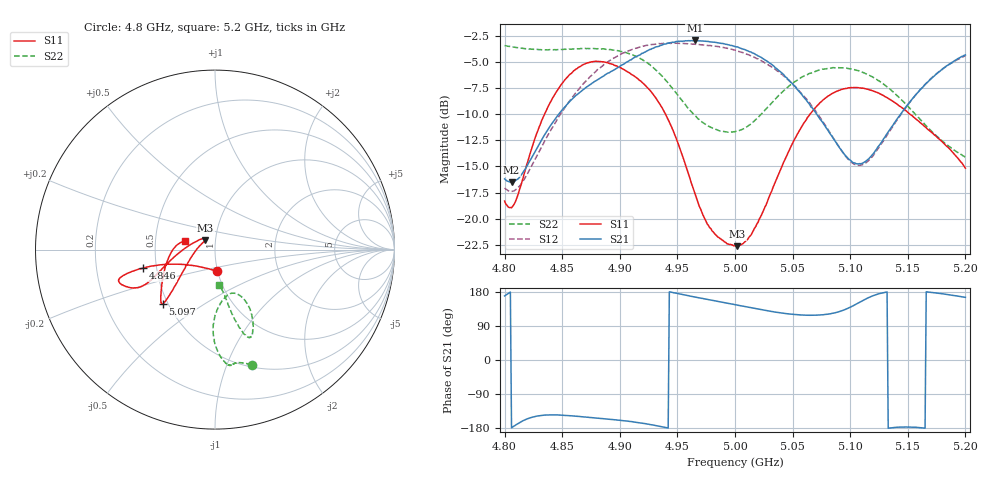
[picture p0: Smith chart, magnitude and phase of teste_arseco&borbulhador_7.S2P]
! Network Analyzer HP8722D
! Hewlett-Packard
! Data name: Linha & Wilkinson
! Saver's name: Rodrigo Anjos
! Comments: Teste da utilização de aquisição
! continua pelo VNA HP8722D
! Time and date: 15/4/2025 15:41
!  Frequency  S11  S21  S12  S22
# HZ  S  MA R 50
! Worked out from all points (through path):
!   401 points, 4.8 GHz to 5.2 GHz, reference 50 ohm
!   highest |S21| = -2.96 dB at 4.965 GHz (marker M1); lowest = -16.5 dB at 4.806 GHz (marker M2)
!   lowest |S11| = -22.6 dB at 5.002 GHz (marker M3), VSWR 1.16, Z = 44.7 + j4.64 ohm
!   |S11| at or under -10 dB: start of sweep to 4.835 GHz; 4.94 GHz to 5.065 GHz (125.5 MHz wide, 2.51 % of centre); 5.152 GHz to end of sweep
!   |S22| runs from -14.1 to -3.5 dB; largest |S21 - S12| = 0.82
!   S11 on the Smith chart (normalised r, x): 4.8 GHz: 0.99, -0.24; 4.846 GHz: 0.42, -0.10; 5.097 GHz: 0.47, -0.34; 5.2 GHz: 0.71, +0.07
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4.8e9  0.1214 -85.0  0.155 169.0  0.1403 -136.4  0.6721 -72.4
4.806e9  0.1127 -110.0  0.1492 -179.0  0.1349 -124.1  0.664 -73.9
4.83e9  0.2744 -162.7  0.227 -147.2  0.2094 -89.6  0.6428 -78.3
4.846e9  0.4122 -165.6  0.3109 -145.0  0.3004 -85.0  0.6432 -80.2
4.867e9  0.5402 -163.9  0.409 -149.7  0.4325 -87.3  0.6505 -82.0
4.899e9  0.5304 -157.0  0.5309 -159.0  0.6029 -98.7  0.6348 -84.7
4.917e9  0.4591 -153.3  0.606 -165.6  0.6604 -106.6  0.5856 -87.6
4.934e9  0.359 -156.6  0.6672 -174.9  0.6881 -114.3  0.4967 -90.7
4.948e9  0.2496 -167.1  0.7002 176.7  0.6895 -120.7  0.4046 -91.0
4.965e9  0.1328 165.7  0.7113 166.1  0.6822 -128.0  0.3118 -85.7
4.98e9  0.08753 132.9  0.6984 157.8  0.67 -134.8  0.272 -77.9
5e9  0.07442 132.6  0.665 145.9  0.6403 -144.2  0.2607 -68.4
5.002e9  0.07389 135.8  0.663 144.8  0.6329 -145.2  0.2626 -67.5
5.014e9  0.08366 161.8  0.6262 137.8  0.6006 -150.8  0.2846 -62.4
5.032e9  0.136 -163.0  0.5451 127.9  0.53 -158.4  0.3586 -59.1
5.05e9  0.2297 -143.9  0.4415 120.6  0.4397 -164.3  0.445 -61.9
5.067e9  0.3256 -136.3  0.3392 118.2  0.3433 -166.2  0.4995 -65.2
5.097e9  0.4194 -134.0  0.197 135.0  0.1961 -147.7  0.5243 -69.1
5.113e9  0.4184 -136.0  0.1874 160.0  0.1842 -120.8  0.4951 -71.1
5.134e9  0.3729 -143.4  0.2644 -179.6  0.2605 -98.0  0.4186 -73.7
5.165e9  0.2749 -166.0  0.4375 -179.8  0.438 -96.4  0.2818 -77.4
5.2e9  0.1742 164.0  0.6064 165.3  0.6013 -108.8  0.1967 -82.9
